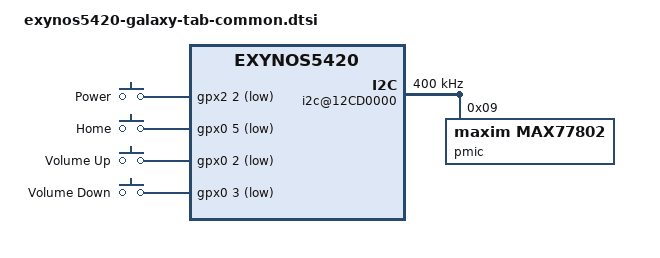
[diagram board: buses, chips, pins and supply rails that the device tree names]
// SPDX-License-Identifier: GPL-2.0+
/*
 * Base DT for Samsung's family of tablets based on Exynos5420.
 *
 * Copyright (c) 2025 Hendrik Noack
 */

/dts-v1/;
#include "exynos54xx.dtsi"
#include <dt-bindings/input/input.h>
#include <dt-bindings/clock/maxim,max77802.h>
#include <dt-bindings/regulator/maxim,max77802.h>

/ {
	aliases {
		serial2 = "/serial@12C20000";
		console = "/serial@12C20000";
	};

	chosen {
		#address-cells = <1>;
		#size-cells = <1>;
		ranges;

		stdout-path = "serial2:115200n8";

		framebuffer0: framebuffer@67000000 {
			compatible = "simple-framebuffer";
			reg = <0x67000000 (2560 * 1600 * 4)>;
			width = <2560>;
			height = <1600>;
			rot = <0>;
			stride = <(2560 * 4)>;
			format = "x8r8g8b8";
		};
	};

	reserved-memory {
		#address-cells = <1>;
		#size-cells = <1>;
		ranges;

		framebuffer@67000000 {
			reg = <0x67000000 (2560 * 1600 * 4)>;
			no-map;
		};
	};

	gpio-keys {
		compatible = "gpio-keys";

		key-power {
			debounce-interval = <10>;
			gpios = <&gpx2 2 GPIO_ACTIVE_LOW>;
			label = "Power";
			linux,code = <KEY_POWER>;
			wakeup-source;
		};

		key-home {
			debounce-interval = <10>;
			gpios = <&gpx0 5 GPIO_ACTIVE_LOW>;
			label = "Home";
			linux,code = <KEY_HOME>;
			wakeup-source;
		};

		key-volume-up {
			debounce-interval = <10>;
			gpios = <&gpx0 2 GPIO_ACTIVE_LOW>;
			label = "Volume Up";
			linux,code = <KEY_VOLUMEUP>;
		};

		key-volume-down {
			debounce-interval = <10>;
			gpios = <&gpx0 3 GPIO_ACTIVE_LOW>;
			label = "Volume Down";
			linux,code = <KEY_VOLUMEDOWN>;
		};
	};

	i2c@12CD0000 { /* i2c7 */
		clock-frequency = <400000>;
		pmic@9 {
			compatible = "maxim,max77802";
			reg = <0x9>;
		};
	};

	tmu@10060000 {
		samsung,min-temp	= <25>;
		samsung,max-temp	= <125>;
		samsung,start-warning	= <95>;
		samsung,start-tripping	= <105>;
		samsung,hw-tripping	= <110>;
		samsung,efuse-min-value	= <40>;
		samsung,efuse-value	= <55>;
		samsung,efuse-max-value	= <100>;
		samsung,slope		= <274761730>;
		samsung,dc-value	= <25>;
	};
};
